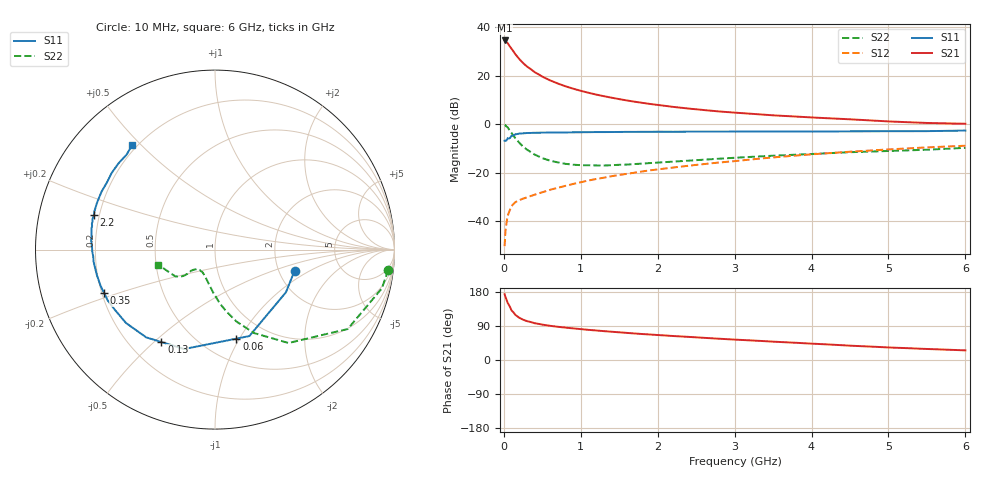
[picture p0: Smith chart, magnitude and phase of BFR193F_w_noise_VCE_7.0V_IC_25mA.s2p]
! (c) 2017  Infineon Technologies AG, Munich
! Infineon Technologies  Discrete & RF Semiconductors
! BFR193F
! VCE =  7.0 V,  IC =  25 mA
! Common Emitter S-Parameters:  Jan 2017
# GHz  S  MA  R  50
!  f  S11  S21  S12  S22
! GHz  MAG  ANG  MAG  ANG  MAG  ANG  MAG  ANG
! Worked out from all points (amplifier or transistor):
!   77 points, 10 MHz to 6 GHz, reference 50 ohm
!   highest |S21| = 34.5 dB at 10 MHz (marker M1)
!   |S21| within 3 dB of that: start of sweep to 90.31 MHz
!   unconditionally stable (mu >= 1): 1.233 GHz to 2.637 GHz
!   at 130 MHz: K = 0.32, MSG = 31.2 dB, |S12| = -32.7 dB
!   at 2.2 GHz: K = 1.02, MAG = 11.6 dB, |S12| = -17.8 dB
!   at 6 GHz: K = 0.84, MSG = 4.5 dB, |S12| = -8.8 dB
!   lowest NFmin = 1.11 dB at 450 MHz
!   S11 on the Smith chart (normalised r, x): 10 MHz: 2.44, -0.73; 60 MHz: 0.72, -0.97; 130 MHz: 0.33, -0.53; 350 MHz: 0.21, -0.18; 2.2 GHz: 0.18, +0.13; 6 GHz: 0.18, +0.47
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0.01  0.4589 -14.9  53.15 173.6  0.0031 83.3  0.9719 -6.7
0.02  0.4612 -31.1  52.12 167.0  0.006 83.3  0.9542 -13.1
0.05  0.5184 -68.3  46.77 150.5  0.013 66.5  0.8618 -30.9
0.06  0.5102 -76.5  44.24 147.3  0.0145 63.3  0.8146 -34.2
0.1  0.5799 -107.2  35.94 130.7  0.0207 55.1  0.6623 -51.8
0.13  0.5953 -120.1  30.83 124.5  0.0233 51.4  0.57 -58.8
0.15  0.6213 -128.1  27.69 119.1  0.025 49.4  0.5146 -64.8
0.2  0.6427 -140.5  22.1 111.5  0.0274 48.1  0.4191 -73.3
0.25  0.6511 -149.0  18.21 106.4  0.0295 47.7  0.3472 -79.9
0.3  0.6614 -154.7  15.49 102.6  0.0313 48.9  0.301 -84.9
0.35  0.6635 -158.6  13.66 100.2  0.0334 50.2  0.269 -88.3
0.4  0.6686 -162.5  11.85 97.1  0.0355 51.4  0.2382 -92.6
0.5  0.673 -167.6  9.579 93.4  0.0399 54.9  0.2013 -98.8
0.6  0.676 -171.4  8.044 90.3  0.0448 57.2  0.1783 -104.1
0.8  0.6795 -176.9  6.066 85.5  0.0541 61.7  0.1536 -113.1
1.1  0.6885 177.4  4.453 79.6  0.0696 65.9  0.1434 -122.7
2.1  0.7024 165.1  2.392 64.7  0.1232 70.6  0.1666 -137.1
2.2  0.7014 164.2  2.282 63.3  0.1287 70.7  0.1703 -137.5
3.1  0.7076 156.3  1.695 52.8  0.1811 70.7  0.2088 -139.0
4.1  0.71 147.3  1.359 42.2  0.2469 67.8  0.2489 -142.8
5.1  0.721 137.2  1.129 32.3  0.3098 62.8  0.2854 -153.8
6  0.7426 128.6  1.026 25.4  0.3621 57.7  0.3278 -165.0
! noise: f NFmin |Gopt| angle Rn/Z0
0.45  1.11  0.36  173  0.06
0.9  1.19  0.41  174  0.06
1.9  1.77  0.57  -169  0.07
2.4  2.06  0.61  -160  0.11
